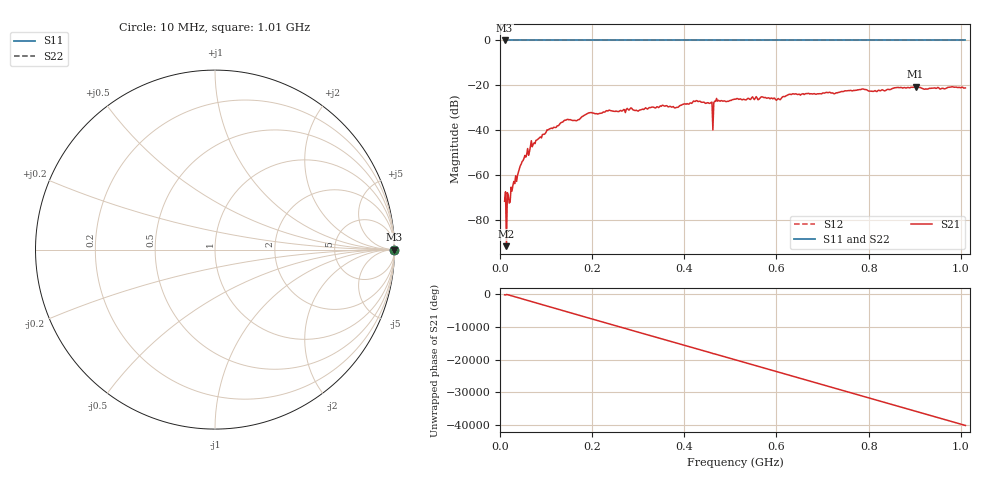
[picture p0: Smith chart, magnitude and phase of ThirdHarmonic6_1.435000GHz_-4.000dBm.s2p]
! 8/16/2025 4:33:45 PM
! C:\ANRITSUVNA\TEMP\TEMP.S2P
! CHANNEL.1
! TR.MEASUREMENT
! RAW.DATA
! RF.CORRECTION.OFF
! AVERAGING.OFF
! IF.BANDWIDTH: 5KHZ
! SWEEPTYPE:  FREQ.SWEEP(Linear)
! Reference Plane Port Info
! PORT:  PORT1  PORT2
! DISTANCE:  0  m  0  m
! TIME:  0  s  0  s
! PHASE.OFFSET:  0  deg.  0  deg.
! LOSS:  0  dB  0  dB
! REF.LOSS:  0  dB  0  dB
! REF.FREQ:  0  Hz  0  Hz
! Power Info
! POWER:  -20  dBm  -20  dBm
! EFF.POWER:  -20  dBm  -20  dBm
! SOURCE.ATTEN:  0  dB  0  dB
! TEST.ATTEN:  0  dB  0  dB
# GHZ S RI R 50.0
! FREQ.GHZ  S11RE  S11IM  S21RE  S21IM  S12RE  S12IM  S22RE  S22IM
!; PortSelection: Port_12
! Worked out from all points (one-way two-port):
!   501 points, 10 MHz to 1.01 GHz, reference 50 ohm
!   highest |S21| = -20.51 dB at 902 MHz (marker M1); lowest = -91.5 dB at 14 MHz (marker M2)
!   lowest |S11| = 0.0 dB at 10 MHz (marker M3)
!   |S11| at or under -10 dB: nowhere
!   |S22| runs from 0.0 to 0.0 dB; largest |S21 - S12| = 1.1
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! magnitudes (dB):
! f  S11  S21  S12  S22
! 10 MHz  0.0  -71.5  0.0  0.0
! 14 MHz  0.0  -91.5  0.0  0.0
! 18 MHz  0.0  -68.9  0.0  0.0
! 20 MHz  0.0  -72.3  0.0  0.0
! 46 MHz  0.0  -55.0  0.0  0.0
! 70 MHz  0.0  -47.3  0.0  0.0
! 106 MHz  0.0  -39.5  0.0  0.0
! 178 MHz  0.0  -33.8  0.0  0.0
! 344 MHz  0.0  -29.8  0.0  0.0
! 382 MHz  0.0  -29.8  0.0  0.0
! 430 MHz  0.0  -27.2  0.0  0.0
! 456 MHz  0.0  -27.9  0.0  0.0
! 458 MHz  0.0  -27.6  0.0  0.0
! 466 MHz  0.0  -27.0  0.0  0.0
! 470 MHz  0.0  -25.8  0.0  0.0
! 510 MHz  0.0  -26.1  0.0  0.0
! 604 MHz  0.0  -25.8  0.0  0.0
! 632 MHz  0.0  -24.1  0.0  0.0
! 678 MHz  0.0  -23.8  0.0  0.0
! 844 MHz  0.0  -21.8  0.0  0.0
! 902 MHz  0.0  -20.5  0.0  0.0
! 1.01 GHz  0.0  -21.1  0.0  0.0
